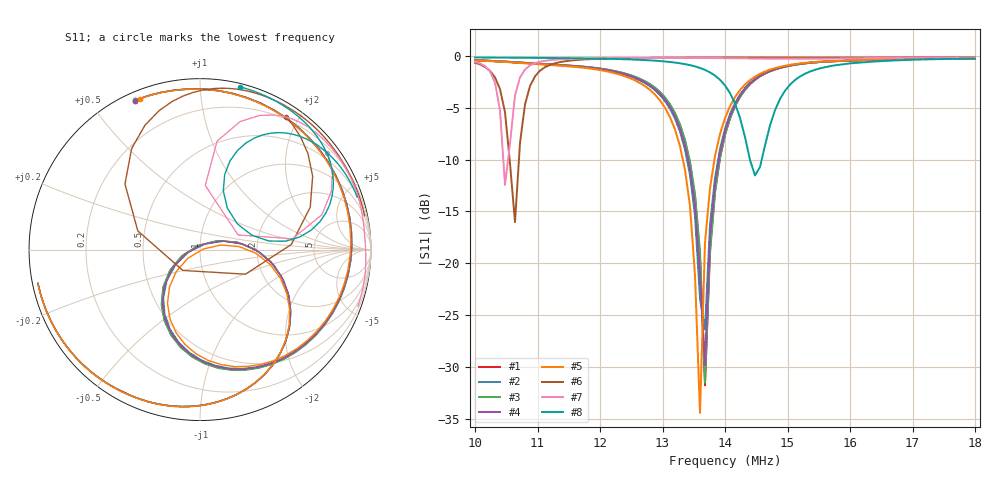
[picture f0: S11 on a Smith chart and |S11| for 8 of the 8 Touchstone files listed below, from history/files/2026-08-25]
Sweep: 10 MHz to 18 MHz
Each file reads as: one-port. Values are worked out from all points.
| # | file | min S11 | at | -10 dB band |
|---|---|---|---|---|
| 1 | mounted_300pF_seriesshuntcap_9to1trans_test1_nanovna-sweep-1787692989887.s1p | -31.8 dB | 13.68 MHz | 489.4 kHz wide |
| 2 | mounted_300pF_seriesshuntcap_9to1trans_test2_nanovna-sweep-1787693048907.s1p | -26.4 dB | 13.68 MHz | 499.7 kHz wide |
| 3 | mounted_300pF_seriesshuntcap_9to1trans_test3_nanovna-sweep-1787693115696.s1p | -31.5 dB | 13.68 MHz | 484.5 kHz wide |
| 4 | mounted_300pF_seriesshuntcap_9to1trans_test4_nanovna-sweep-1787693132108.s1p | -29.8 dB | 13.68 MHz | 495.4 kHz wide |
| 5 | mounted_300pF_seriesshuntcap_9to1trans_test5_nanovna-sweep-1787696761263.s1p | -34.4 dB | 13.6 MHz | 506 kHz wide |
| 6 | mounted_trans_direct_no_electrodes_nanovna-sweep-1787680737283.s1p | -16.0 dB | 10.64 MHz | 149.5 kHz wide |
| 7 | mounted_trans_no_electrodes_nanovna-sweep-1787680737283.s1p | -12.4 dB | 10.48 MHz | 76.75 kHz wide |
| 8 | unmounted_trans_direct_electrodes_nanovna-sweep-1787682362196.s1p | -11.5 dB | 14.48 MHz | 189.2 kHz wide |
